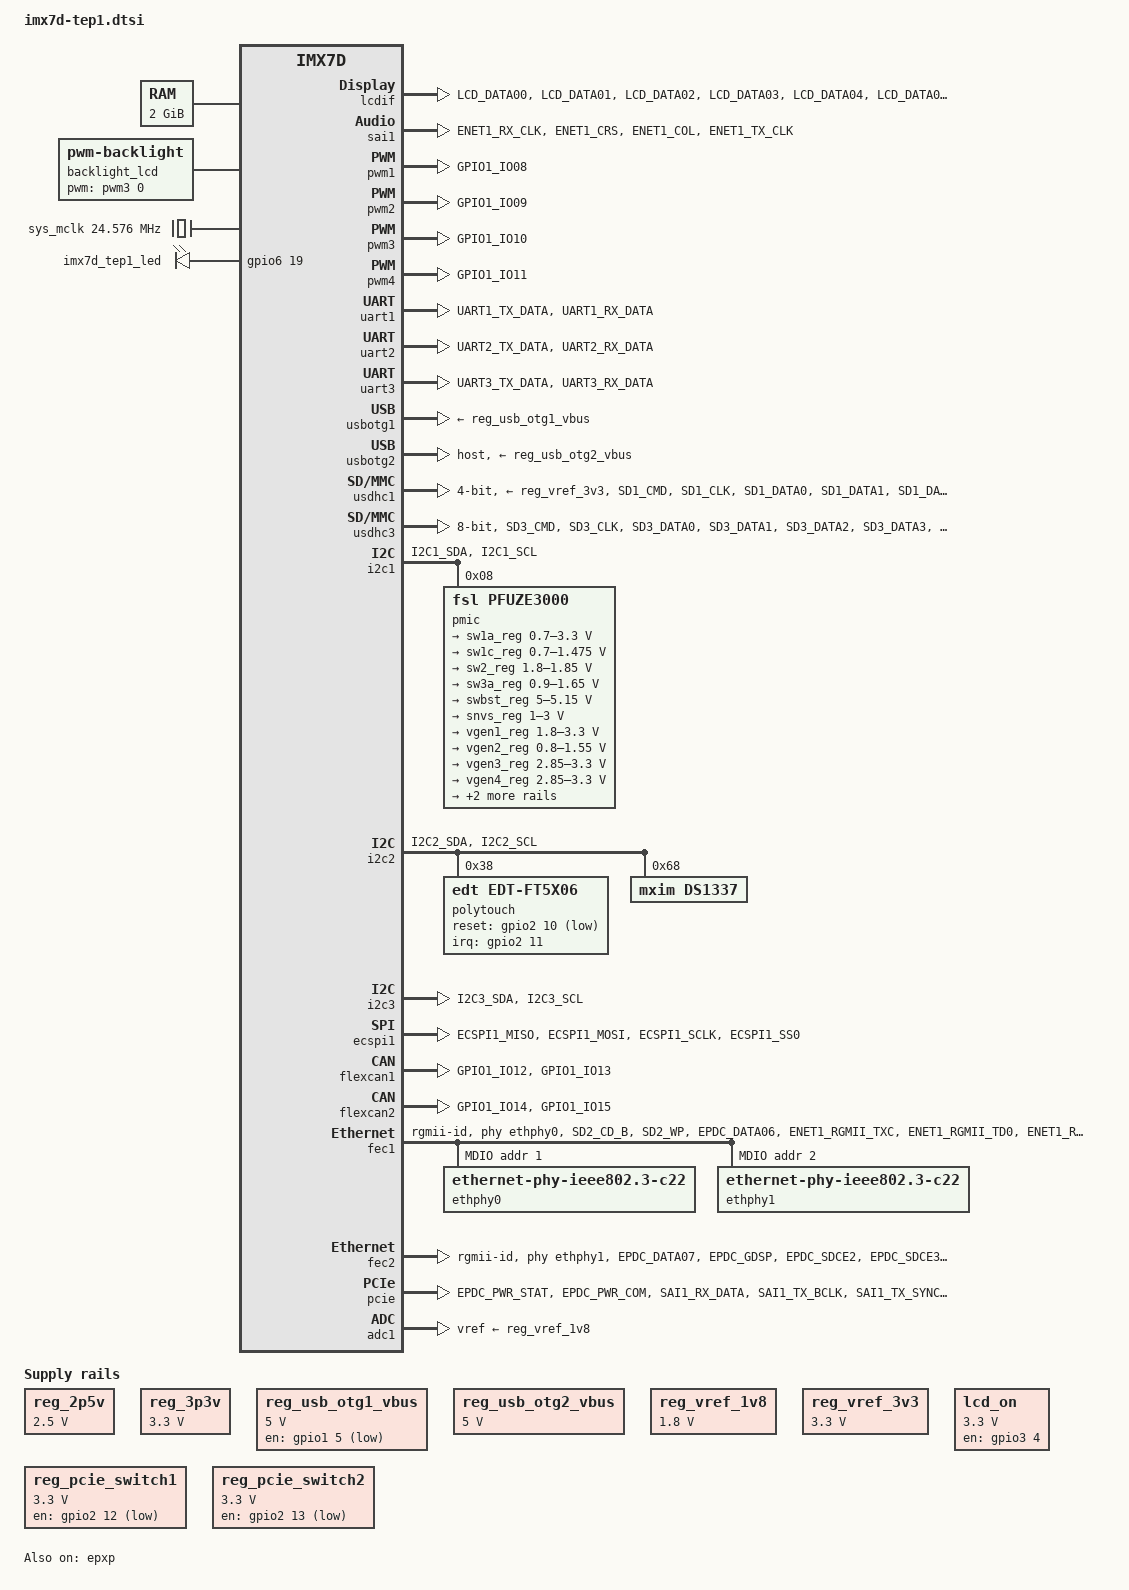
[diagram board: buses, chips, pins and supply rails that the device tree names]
/*
 * Copyright 2016 Technexion Ltd.
 *
 * Author: Alvin Chen<alvin.chen@technexion.com>
 *
 * This program is free software; you can redistribute it and/or modify
 * it under the terms of the GNU General Public License version 2 as
 * published by the Free Software Foundation.
 *
 */

#include <dt-bindings/input/input.h>
#include <dt-bindings/gpio/gpio.h>

#define EDM_TEP1_GPIO_DEFS()							\
&gpio2 {									\
	gpio-line-names =							\
		"", "", "", "", "GPIO_PORT1_IO3", "", "", "",			\
		"", "", "", "", "", "", "", "",					\
		"", "", "", "", "", "", "", "",					\
		"", "", "", "", "", "", "", "";					\
	pinctrl-0 = <&pinctrl_gpio2>;						\
};										\
										\
&gpio5 {									\
	gpio-line-names =							\
		"", "", "GPIO_PORT1_IO2", "", "", "", "", "",			\
		"", "", "", "", "GPIO_PORT1_IO4", "GPIO_PORT1_IO1", "", "",	\
		"", "", "", "", "", "", "", "",					\
		"", "", "", "", "", "", "", "";					\
	pinctrl-0 = <&pinctrl_gpio5>;						\
}

/ {
	aliases {
		mxcfb0 = &mxcfb1;
	};

	memory {
		reg = <0x80000000 0x80000000>;
	};

	reserved-memory {
		#address-cells = <1>;
		#size-cells = <1>;
		ranges;

		linux,cma {
		compatible = "shared-dma-pool";
		reusable;
		size = <0x14000000>;
		linux,cma-default;
		};
	};

	backlight_lcd {
		compatible = "pwm-backlight";
		pwms = <&pwm3 0 50000 0>;
		brightness-levels = <0 36 72 108 144 180 216 255>;
		default-brightness-level = <6>;
		status = "okay";
	};

	regulators {
		compatible = "simple-bus";
		#address-cells = <1>;
		#size-cells = <0>;

		reg_2p5v: 2p5v {
			compatible = "regulator-fixed";
			regulator-name = "2P5V";
			regulator-min-microvolt = <2500000>;
			regulator-max-microvolt = <2500000>;
			regulator-always-on;
		};

		reg_3p3v: 3p3v {
			compatible = "regulator-fixed";
			regulator-name = "3P3V";
			regulator-min-microvolt = <3300000>;
			regulator-max-microvolt = <3300000>;
			regulator-always-on;
		};

		reg_usb_otg1_vbus: regulator@0 {
			compatible = "regulator-fixed";
			reg = <0>;
			regulator-name = "usb_otg1_vbus";
			regulator-min-microvolt = <5000000>;
			regulator-max-microvolt = <5000000>;
			pinctrl-names = "default";
			pinctrl-0 = <&pinctrl_usbotg1_pwr>;
			gpio = <&gpio1 5 GPIO_ACTIVE_LOW>;
			enable-active-low;
		};

		reg_usb_otg2_vbus: regulator@1 {
			compatible = "regulator-fixed";
			reg = <1>;
			regulator-name = "usb_otg2_vbus";
			regulator-min-microvolt = <5000000>;
			regulator-max-microvolt = <5000000>;
		};

		reg_vref_1v8: regulator@5 {
			compatible = "regulator-fixed";
			reg = <5>;
			regulator-name = "vref-1v8";
			regulator-min-microvolt = <1800000>;
			regulator-max-microvolt = <1800000>;
		};

		reg_vref_3v3: regulator@6 {
			compatible = "regulator-fixed";
			regulator-name = "vref-3v3";
			regulator-min-microvolt = <3300000>;
			regulator-max-microvolt = <3300000>;
		};

		lcd_on: lcd_on {
			compatible = "regulator-fixed";
			regulator-name = "LCD_VDD";
			reg = <0>;
			regulator-min-microvolt = <3300000>;
			regulator-max-microvolt = <3300000>;
			pinctrl-names = "default";
			pinctrl-0 = <&pinctrl_lcd_vdden>;
			gpio = <&gpio3 4 GPIO_ACTIVE_HIGH>;
			enable-active-high;
			regulator-boot-on;
		};

		reg_pcie_switch1: pcie_switch1 {
			compatible = "regulator-fixed";
			regulator-name = "PCIE_SWITCH1";
			regulator-min-microvolt = <3300000>;
			regulator-max-microvolt = <3300000>;
			pinctrl-names = "default";
			pinctrl-0 = <&pinctrl_pcie_switch1>;
			gpio = <&gpio2 12 GPIO_ACTIVE_HIGH>;
			enable-active-low;
			regulator-always-on;
		};

		reg_pcie_switch2: pcie_switch2 {
			compatible = "regulator-fixed";
			regulator-name = "PCIE_SWITCH2";
			regulator-min-microvolt = <3300000>;
			regulator-max-microvolt = <3300000>;
			pinctrl-names = "default";
			pinctrl-0 = <&pinctrl_pcie_switch2>;
			gpio = <&gpio2 13 GPIO_ACTIVE_HIGH>;
			enable-active-low;
			regulator-always-on;
		};
	};

	clocks {
		sys_mclk: clock {
			compatible = "fixed-clock";
			#clock-cells = <0>;
			clock-frequency = <24576000>;
		};
	};

	mxcfb1: fb@0 {
		compatible = "fsl,mxc_sdc_fb";
		disp_dev = "lcdif";
		interface_pix_fmt = "RGB24";
		default_bpp = <24>;
		int_clk = <0>;
		late_init = <0>;
		status = "okay";
	};

	gpio-leds {
		compatible = "gpio-leds";
		pinctrl-names = "default";
		pinctrl-0 = <&pinctrl_ext_gpioled_tep1>;
		tep1_led {
			label = "imx7d_tep1_led";
			gpios = <&gpio6 19 GPIO_ACTIVE_HIGH>;
		};
	};
};

&cpu0 {
	cpu-supply = <&sw1a_reg>;
};

&cpu1 {
	cpu-supply = <&sw1a_reg>;
};

EDM_TEP1_GPIO_DEFS();

&iomuxc {
	pinctrl-names = "default";
	pinctrl-0 = <&pinctrl_hog_1>;
	tep1-imx7d {
		pinctrl_pcie_switch1: pcie_switch1_ctrlgrp {
			fsl,pins = <
				MX7D_PAD_EPDC_DATA12__GPIO2_IO12	0x15
			>;
		};

		pinctrl_pcie_switch2: pcie_switch2_ctrlgrp {
			fsl,pins = <
				MX7D_PAD_EPDC_DATA13__GPIO2_IO13	0x15
			>;
		};

		pinctrl_ecspi1: ecspi1grp {
			fsl,pins = <
				MX7D_PAD_ECSPI1_MISO__ECSPI1_MISO	0x2
				MX7D_PAD_ECSPI1_MOSI__ECSPI1_MOSI	0x2
				MX7D_PAD_ECSPI1_SCLK__ECSPI1_SCLK	0x2
			>;
		};

		pinctrl_ecspi1_cs: ecspi1_cs_grp {
			fsl,pins = <
				MX7D_PAD_ECSPI1_SS0__GPIO4_IO19	0x15
			>;
		};

		pinctrl_enet1: enet1grp {
			fsl,pins = <
				MX7D_PAD_SD2_CD_B__ENET1_MDIO				0x3
				MX7D_PAD_SD2_WP__ENET1_MDC				0x3
				MX7D_PAD_EPDC_DATA06__GPIO2_IO6				0x3  /* MDIO interrupt */
				MX7D_PAD_ENET1_RGMII_TXC__ENET1_RGMII_TXC		0x3
				MX7D_PAD_ENET1_RGMII_TD0__ENET1_RGMII_TD0		0x3
				MX7D_PAD_ENET1_RGMII_TD1__ENET1_RGMII_TD1		0x3
				MX7D_PAD_ENET1_RGMII_TD2__ENET1_RGMII_TD2		0x3
				MX7D_PAD_ENET1_RGMII_TD3__ENET1_RGMII_TD3		0x3
				MX7D_PAD_ENET1_RGMII_TX_CTL__ENET1_RGMII_TX_CTL		0x3
				MX7D_PAD_ENET1_RGMII_RXC__ENET1_RGMII_RXC		0x3
				MX7D_PAD_ENET1_RGMII_RD0__ENET1_RGMII_RD0		0x3
				MX7D_PAD_ENET1_RGMII_RD1__ENET1_RGMII_RD1		0x3
				MX7D_PAD_ENET1_RGMII_RD2__ENET1_RGMII_RD2		0x3
				MX7D_PAD_ENET1_RGMII_RD3__ENET1_RGMII_RD3		0x3
				MX7D_PAD_ENET1_RGMII_RX_CTL__ENET1_RGMII_RX_CTL		0x3
				MX7D_PAD_SD2_RESET_B__GPIO5_IO11			0x3  /* Ethernet reset */
			>;
		};

		pinctrl_enet2: enet2grp {
			fsl,pins = <
				MX7D_PAD_EPDC_DATA07__GPIO2_IO7			0x3  /* MDIO interrupt*/
				MX7D_PAD_EPDC_GDSP__ENET2_RGMII_TXC		0x3
				MX7D_PAD_EPDC_SDCE2__ENET2_RGMII_TD0		0x3
				MX7D_PAD_EPDC_SDCE3__ENET2_RGMII_TD1		0x3
				MX7D_PAD_EPDC_GDCLK__ENET2_RGMII_TD2		0x3
				MX7D_PAD_EPDC_GDOE__ENET2_RGMII_TD3		0x3
				MX7D_PAD_EPDC_GDRL__ENET2_RGMII_TX_CTL		0x3
				MX7D_PAD_EPDC_SDCE1__ENET2_RGMII_RXC		0x3
				MX7D_PAD_EPDC_SDCLK__ENET2_RGMII_RD0		0x3
				MX7D_PAD_EPDC_SDLE__ENET2_RGMII_RD1		0x3
				MX7D_PAD_EPDC_SDOE__ENET2_RGMII_RD2		0x3
				MX7D_PAD_EPDC_SDSHR__ENET2_RGMII_RD3		0x3
				MX7D_PAD_EPDC_SDCE0__ENET2_RGMII_RX_CTL		0x3
			>;
		};

		pinctrl_i2c1: i2c1grp {
			fsl,pins = <
				MX7D_PAD_I2C1_SDA__I2C1_SDA	0x4000007f
				MX7D_PAD_I2C1_SCL__I2C1_SCL	0x4000007f
			>;
		};

		pinctrl_i2c2: i2c2grp {
			fsl,pins = <
				MX7D_PAD_I2C2_SDA__I2C2_SDA	0x4000007f
				MX7D_PAD_I2C2_SCL__I2C2_SCL	0x4000007f
			>;
		};

		pinctrl_i2c3: i2c3grp {
			fsl,pins = <
				MX7D_PAD_I2C3_SDA__I2C3_SDA	0x4000007f
				MX7D_PAD_I2C3_SCL__I2C3_SCL	0x4000007f
			>;
		};

		pinctrl_pcie: pcie_ctrlgrp {
			fsl,pins = <
				MX7D_PAD_EPDC_PWR_STAT__GPIO2_IO31	0x15	/* POWER_ON_OFF */
				MX7D_PAD_EPDC_PWR_COM__GPIO2_IO30	0x15	/* M2_RST */
				MX7D_PAD_SAI1_RX_DATA__GPIO6_IO12	0x15	/* WAKE_WWAN */
				MX7D_PAD_SAI1_TX_BCLK__GPIO6_IO13	0x15	/* pcie CLKREQ */
				MX7D_PAD_SAI1_TX_SYNC__GPIO6_IO14	0x15	/* pcie PEWAKE */
				MX7D_PAD_SAI1_TX_DATA__GPIO6_IO15	0x15	/* pcie PERST */
				MX7D_PAD_SAI1_RX_BCLK__GPIO6_IO17	0x15	/* GPS_DISABLE */
				MX7D_PAD_SAI2_TX_DATA__GPIO6_IO22	0x15	/* WAN_nDISABLE1 */
			>;
		};

		pinctrl_lcdif_dat: lcdifdatgrp {
			fsl,pins = <
				MX7D_PAD_LCD_DATA00__LCD_DATA0	0x79
				MX7D_PAD_LCD_DATA01__LCD_DATA1	0x79
				MX7D_PAD_LCD_DATA02__LCD_DATA2	0x79
				MX7D_PAD_LCD_DATA03__LCD_DATA3	0x79
				MX7D_PAD_LCD_DATA04__LCD_DATA4	0x79
				MX7D_PAD_LCD_DATA05__LCD_DATA5	0x79
				MX7D_PAD_LCD_DATA06__LCD_DATA6	0x79
				MX7D_PAD_LCD_DATA07__LCD_DATA7	0x79
				MX7D_PAD_LCD_DATA08__LCD_DATA8	0x79
				MX7D_PAD_LCD_DATA09__LCD_DATA9	0x79
				MX7D_PAD_LCD_DATA10__LCD_DATA10	0x79
				MX7D_PAD_LCD_DATA11__LCD_DATA11	0x79
				MX7D_PAD_LCD_DATA12__LCD_DATA12	0x79
				MX7D_PAD_LCD_DATA13__LCD_DATA13	0x79
				MX7D_PAD_LCD_DATA14__LCD_DATA14	0x79
				MX7D_PAD_LCD_DATA15__LCD_DATA15	0x79
				MX7D_PAD_LCD_DATA16__LCD_DATA16	0x79
				MX7D_PAD_LCD_DATA17__LCD_DATA17	0x79
				MX7D_PAD_LCD_DATA18__LCD_DATA18	0x79
				MX7D_PAD_LCD_DATA19__LCD_DATA19	0x79
				MX7D_PAD_LCD_DATA20__LCD_DATA20	0x79
				MX7D_PAD_LCD_DATA21__LCD_DATA21	0x79
				MX7D_PAD_LCD_DATA22__LCD_DATA22	0x79
				MX7D_PAD_LCD_DATA23__LCD_DATA23	0x79
			>;
		};

		pinctrl_lcdif_ctrl: lcdifctrlgrp {
			fsl,pins = <
				MX7D_PAD_LCD_CLK__LCD_CLK	0x79
				MX7D_PAD_LCD_ENABLE__LCD_ENABLE	0x78
				MX7D_PAD_LCD_VSYNC__LCD_VSYNC	0x78
				MX7D_PAD_LCD_HSYNC__LCD_HSYNC	0x78
			>;
		};

		pinctrl_lcd_vdden: lcd_vdden {
			fsl,pins = <
				MX7D_PAD_LCD_RESET__GPIO3_IO4	0x14
			>;
		};

		pinctrl_sai1: sai1grp {
			fsl,pins = <
				MX7D_PAD_ENET1_RX_CLK__SAI1_TX_BCLK	0x1f
				MX7D_PAD_ENET1_CRS__SAI1_TX_SYNC	0x1f
				MX7D_PAD_ENET1_COL__SAI1_TX_DATA0	0x30
				MX7D_PAD_ENET1_TX_CLK__SAI1_RX_DATA0	0x1f
			>;
		};

		pinctrl_pwm1: pwm1 {
			fsl,pins = <
				MX7D_PAD_GPIO1_IO08__PWM1_OUT	0x7f
			>;
		};

		pinctrl_pwm2: pwm2 {
			fsl,pins = <
				MX7D_PAD_GPIO1_IO09__PWM2_OUT	0x7f
			>;
		};

		pinctrl_pwm4: pwm4 {
			fsl,pins = <
				MX7D_PAD_GPIO1_IO11__PWM4_OUT	0x7f
			>;
		};

		pinctrl_uart1: uart1grp {
			fsl,pins = <
				MX7D_PAD_UART1_TX_DATA__UART1_DCE_TX	0x79
				MX7D_PAD_UART1_RX_DATA__UART1_DCE_RX	0x79
			>;
		};

		pinctrl_uart2: uart2grp {
			fsl,pins = <
				MX7D_PAD_UART2_TX_DATA__UART2_DCE_TX	0x79
				MX7D_PAD_UART2_RX_DATA__UART2_DCE_RX	0x79
			>;
		};

		pinctrl_uart3: uart3grp {
			fsl,pins = <
				MX7D_PAD_UART3_TX_DATA__UART3_DCE_TX	0x79
				MX7D_PAD_UART3_RX_DATA__UART3_DCE_RX	0x79
			>;
		};

		pinctrl_can_1: can-1 {
			fsl,pins = <
				MX7D_PAD_GPIO1_IO12__FLEXCAN1_RX	0x59
				MX7D_PAD_GPIO1_IO13__FLEXCAN1_TX	0x59
			>;
		};

		pinctrl_can_2: can-2 {
			fsl,pins = <
				MX7D_PAD_GPIO1_IO14__FLEXCAN2_RX	0x59
				MX7D_PAD_GPIO1_IO15__FLEXCAN2_TX	0x59
			>;
		};

		pinctrl_usdhc1: usdhc1grp {
			fsl,pins = <
				MX7D_PAD_SD1_CMD__SD1_CMD	0x7B
				MX7D_PAD_SD1_CLK__SD1_CLK	0x1B
				MX7D_PAD_SD1_DATA0__SD1_DATA0	0x7B
				MX7D_PAD_SD1_DATA1__SD1_DATA1	0x7B
				MX7D_PAD_SD1_DATA2__SD1_DATA2	0x7B
				MX7D_PAD_SD1_DATA3__SD1_DATA3	0x7B
				MX7D_PAD_SD1_CD_B__GPIO5_IO0	0x7B /* baseboard sd cd pin */
			>;
		};

		pinctrl_usdhc1_100mhz: usdhc1grp_100mhz {
			fsl,pins = <
				MX7D_PAD_SD1_CMD__SD1_CMD	0x5a
				MX7D_PAD_SD1_CLK__SD1_CLK	0x1a
				MX7D_PAD_SD1_DATA0__SD1_DATA0	0x5a
				MX7D_PAD_SD1_DATA1__SD1_DATA1	0x5a
				MX7D_PAD_SD1_DATA2__SD1_DATA2	0x5a
				MX7D_PAD_SD1_DATA3__SD1_DATA3	0x5a
				MX7D_PAD_SD1_CD_B__GPIO5_IO0	0x15
			>;
		};

		pinctrl_usdhc1_200mhz: usdhc1grp_200mhz {
			fsl,pins = <
				MX7D_PAD_SD1_CMD__SD1_CMD	0x5b
				MX7D_PAD_SD1_CLK__SD1_CLK	0x1b
				MX7D_PAD_SD1_DATA0__SD1_DATA0	0x5b
				MX7D_PAD_SD1_DATA1__SD1_DATA1	0x5b
				MX7D_PAD_SD1_DATA2__SD1_DATA2	0x5b
				MX7D_PAD_SD1_DATA3__SD1_DATA3	0x5b
				MX7D_PAD_SD1_CD_B__GPIO5_IO0	0x15
			>;
		};

		pinctrl_m2_cfg: m2cfggrp {
			fsl,pins = <
				MX7D_PAD_SD2_DATA0__GPIO5_IO14	0x5b	/* M2 CONFIG_0 */
				MX7D_PAD_SD2_DATA1__GPIO5_IO15	0x5b	/* M2 CONFIG_1 */
				MX7D_PAD_SD2_DATA2__GPIO5_IO16	0x5b	/* M2 CONFIG_2 */
				MX7D_PAD_SD2_DATA3__GPIO5_IO17	0x5b	/* M2 CONFIG_3 */
			>;
		};

		pinctrl_usdhc3: usdhc3grp {
			fsl,pins = <
				MX7D_PAD_SD3_CMD__SD3_CMD		0x59
				MX7D_PAD_SD3_CLK__SD3_CLK		0x19
				MX7D_PAD_SD3_DATA0__SD3_DATA0		0x59
				MX7D_PAD_SD3_DATA1__SD3_DATA1		0x59
				MX7D_PAD_SD3_DATA2__SD3_DATA2		0x59
				MX7D_PAD_SD3_DATA3__SD3_DATA3		0x59
				MX7D_PAD_SD3_DATA4__SD3_DATA4		0x59
				MX7D_PAD_SD3_DATA5__SD3_DATA5		0x59
				MX7D_PAD_SD3_DATA6__SD3_DATA6		0x59
				MX7D_PAD_SD3_DATA7__SD3_DATA7		0x59
			>;
		};

		pinctrl_backlight: backlight {
			fsl,pins = <
				MX7D_PAD_GPIO1_IO10__PWM3_OUT		0x0
			>;
		};

		pinctrl_hog_1: gpio_ctrlgrp {
			fsl,pins = <
				MX7D_PAD_I2C4_SDA__GPIO4_IO15		0x15	/* fec power */
			>;
		};

		pinctrl_ext_gpioled_tep1: gpioledgrp {
			fsl,pins = <
				MX7D_PAD_SAI2_TX_SYNC__GPIO6_IO19	0x0b0b0
			>;
		};

		pinctrl_ft5606_irq: ft5606-touch-irq {
			fsl,pins = <
				MX7D_PAD_EPDC_DATA11__GPIO2_IO11	0x59	/* touch irq */
			>;
		};

		pinctrl_ft5606_reset: ft5606-touch-reset {
			fsl,pins = <
				MX7D_PAD_EPDC_DATA10__GPIO2_IO10	0x59	/* touch rest */
			>;
		};

		pinctrl_gpio2: gpio2grp {
			fsl,pins = <
				MX7D_PAD_EPDC_DATA04__GPIO2_IO4		0x15
			>;
		};

		pinctrl_gpio5: gpio5grp {
			fsl,pins = <
				MX7D_PAD_SD2_CMD__GPIO5_IO13		0x15
				MX7D_PAD_SD1_RESET_B__GPIO5_IO2		0x15
				MX7D_PAD_SD2_CLK__GPIO5_IO12		0x15
			>;
		};
	};
};

&lcdif {
	pinctrl-names = "default";
	pinctrl-0 = <&pinctrl_lcdif_dat
		     &pinctrl_lcdif_ctrl>;
	lcd-supply = <&lcd_on>;
	display = <&display0>;
	status = "okay";

	display0: display {
		bits-per-pixel = <24>;
		bus-width = <24>;
		fbpix = "ABGR32";
		display-timings {
			native-mode = <&timing0>;
			timing0: timing0 {
				clock-frequency = <33260000>;
				hactive = <800>;
				vactive = <480>;
				hback-porch = <11>;
				hfront-porch = <11>;
				vback-porch = <12>;
				vfront-porch = <11>;
				hsync-len = <46>;
				vsync-len = <210>;
				hsync-active = <0>;
				vsync-active = <0>;
				de-active = <1>;
				pixelclk-active = <1>;
				interlaced =  <0>;
			};
		};
	};
};

&sai1 {
	pinctrl-names = "default";
	pinctrl-0 = <&pinctrl_sai1>;
	assigned-clocks = <&clks IMX7D_SAI1_ROOT_SRC>,
			  <&clks IMX7D_SAI1_ROOT_CLK>;
	assigned-clock-parents = <&clks IMX7D_PLL_AUDIO_POST_DIV>;
	assigned-clock-rates = <0>, <24576000>;
	status = "okay";
};

&pwm1 {
	pinctrl-names = "default";
	pinctrl-0 = <&pinctrl_pwm1>;
	status = "okay";
};

&pwm2 {
	pinctrl-names = "default";
	pinctrl-0 = <&pinctrl_pwm2>;
	status = "okay";
};

&pwm3 { /* Backlight */
	pinctrl-names = "default";
	pinctrl-0 = <&pinctrl_backlight>;
	status = "okay";
};

&pwm4 {
	pinctrl-names = "default";
	pinctrl-0 = <&pinctrl_pwm4>;
	status = "okay";
};

&sdma {
	status = "okay";
};

&uart1 {
	pinctrl-names = "default";
	pinctrl-0 = <&pinctrl_uart1>;
	assigned-clocks = <&clks IMX7D_UART1_ROOT_SRC>;
	assigned-clock-parents = <&clks IMX7D_PLL_SYS_MAIN_240M_CLK>;
	status = "okay";
};

&uart2 {
	pinctrl-names = "default";
	pinctrl-0 = <&pinctrl_uart2>;
	assigned-clocks = <&clks IMX7D_UART2_ROOT_SRC>;
	assigned-clock-parents = <&clks IMX7D_PLL_SYS_MAIN_240M_CLK>;
	status = "okay";
};

&uart3 {
	pinctrl-names = "default";
	pinctrl-0 = <&pinctrl_uart3>;
	assigned-clocks = <&clks IMX7D_UART3_ROOT_SRC>;
	assigned-clock-parents = <&clks IMX7D_PLL_SYS_MAIN_240M_CLK>;
	status = "okay";
};

&usbotg1 {
	vbus-supply = <&reg_usb_otg1_vbus>;
	srp-disable;
	hnp-disable;
	adp-disable;
	status = "okay";
};

&usbotg2 {
	vbus-supply = <&reg_usb_otg2_vbus>;
	dr_mode = "host";
	status = "okay";
};

&usdhc1 {
	pinctrl-names = "default";
	pinctrl-0 = <&pinctrl_usdhc1>;
	cd-gpios = <&gpio5 0 GPIO_ACTIVE_LOW>;
	bus-width = <4>;
	vmmc-supply = <&reg_vref_3v3>;
	enable-sdio-wakeup;
	no-1-8-v;
	keep-power-in-suspend;
	status = "okay";
};

&usdhc3 { /* Module eMMC */
	pinctrl-names = "default";
	pinctrl-0 = <&pinctrl_usdhc3>;
	assigned-clocks = <&clks IMX7D_USDHC3_ROOT_CLK>;
	assigned-clock-rates = <400000000>;
	bus-width = <8>;
	status = "okay";
};

&wdog1 {
	pinctrl-names = "default";
	pinctrl-0 = <&pinctrl_wdog>;
	fsl,ext-reset-output;
};

&i2c1 {
	pinctrl-names = "default";
	pinctrl-0 = <&pinctrl_i2c1>;
	status = "okay";

	pmic: pfuze3000@8 {
	compatible = "fsl,pfuze3000";
	reg = <0x8>;
	fsl,lpsr-mode;

	regulators {
		sw1a_reg: sw1a {
			regulator-min-microvolt = <700000>;
			regulator-max-microvolt = <3300000>;
			regulator-boot-on;
			regulator-always-on;
			regulator-ramp-delay = <6250>;
		};
		/* use sw1c_reg to align with pfuze100/pfuze200 */
		sw1c_reg: sw1b {
			regulator-min-microvolt = <700000>;
			regulator-max-microvolt = <1475000>;
			regulator-boot-on;
			regulator-always-on;
			regulator-ramp-delay = <6250>;
		};

		sw2_reg: sw2 {
			regulator-min-microvolt = <1800000>;
			regulator-max-microvolt = <1850000>;
			regulator-boot-on;
			regulator-always-on;
		};
		sw3a_reg: sw3 {
			regulator-min-microvolt = <900000>;
			regulator-max-microvolt = <1650000>;
			regulator-boot-on;
			regulator-always-on;
		};

		swbst_reg: swbst {
			regulator-min-microvolt = <5000000>;
			regulator-max-microvolt = <5150000>;
		};

		snvs_reg: vsnvs {
			regulator-min-microvolt = <1000000>;
			regulator-max-microvolt = <3000000>;
			regulator-boot-on;
			regulator-always-on;
		};

		vref_reg: vrefddr {
			regulator-boot-on;
			regulator-always-on;
		};

		vgen1_reg: vldo1 {
			regulator-min-microvolt = <1800000>;
			regulator-max-microvolt = <3300000>;
			regulator-always-on;
		};

		vgen2_reg: vldo2 {
			regulator-min-microvolt = <800000>;
			regulator-max-microvolt = <1550000>;
		};

		vgen3_reg: vccsd {
			regulator-min-microvolt = <2850000>;
			regulator-max-microvolt = <3300000>;
			regulator-always-on;
		};

		vgen4_reg: v33 {
			regulator-min-microvolt = <2850000>;
			regulator-max-microvolt = <3300000>;
			regulator-always-on;
		};

		vgen5_reg: vldo3 {
			regulator-min-microvolt = <1800000>;
			regulator-max-microvolt = <3300000>;
			regulator-always-on;
		};

		vgen6_reg: vldo4 {
			regulator-min-microvolt = <1800000>;
			regulator-max-microvolt = <3300000>;
			regulator-always-on;
		};
	};
	};
};

&i2c2 {
	pinctrl-names = "default";
	pinctrl-0 = <&pinctrl_i2c2>;
	status = "okay";
	polytouch: edt-ft5x06@38 {
		compatible = "edt,edt-ft5x06";
		reg = <0x38>;
		pinctrl-names = "default";
		pinctrl-0 = <&pinctrl_ft5606_irq &pinctrl_ft5606_reset>; /* Touch IRQ and Touch Reset */
		reset-gpios = <&gpio2 10 GPIO_ACTIVE_LOW>; /* GPIO_P264 J1B-264 */
		interrupt-parent = <&gpio2>; /* GPIO_P261 J1B-261 */
		interrupts = <11 0>;
		touchscreen-size-x = <800>;
		touchscreen-size-y = <480>;
	};

	ds1337: rtc@68 {
		compatible = "mxim,ds1337";
		reg = <0x68>;
	};
};

&i2c3 {
	pinctrl-names = "default";
	pinctrl-0 = <&pinctrl_i2c3>;
	status = "okay";
};

&ecspi1 {
	num-cs = <0>;
	cs-gpios = <&gpio4 19 GPIO_ACTIVE_LOW>;
	pinctrl-names = "default";
	pinctrl-0 = <&pinctrl_ecspi1 &pinctrl_ecspi1_cs>;
	status = "okay";
};

&flexcan1 {
	pinctrl-names = "default";
	pinctrl-0 = <&pinctrl_can_1>;
	status = "okay";
};

&flexcan2 {
	pinctrl-names = "default";
	pinctrl-0 = <&pinctrl_can_2>;
	status = "okay";
};

&cpu0 {
	arm-supply = <&sw1a_reg>;
};

&iomuxc_lpsr {
	pinctrl-names = "default";
	pinctrl-0 = <&pinctrl_hog_2>;

	tep1-imx7d-miscpins {
		pinctrl_wdog: wdoggrp {
			fsl,pins = <
				MX7D_PAD_LPSR_GPIO1_IO00__WDOG1_WDOG_B		0x74
			>;
		};

		pinctrl_hog_2: hoggrp-2 {
			fsl,pins = <
				MX7D_PAD_LPSR_GPIO1_IO07__GPIO1_IO7		0x59 /* pmic sd_vel pin */
			>;
		};

		pinctrl_usbotg1_pwr: usbotg_pwr {
			fsl,pins = <
				MX7D_PAD_LPSR_GPIO1_IO05__GPIO1_IO5		0x14
			>;
		};
	};
};

&fec1 {
	pinctrl-names = "default";
	pinctrl-0 = <&pinctrl_enet1>;
	phy-reset-gpios = <&gpio5 11 0>;
	assigned-clocks = <&clks IMX7D_ENET1_TIME_ROOT_SRC>,
			  <&clks IMX7D_ENET1_TIME_ROOT_CLK>;
	assigned-clock-parents = <&clks IMX7D_PLL_ENET_MAIN_100M_CLK>;
	assigned-clock-rates = <0>, <100000000>;
	phy-mode = "rgmii-id";
	phy-handle = <&ethphy0>;
	fsl,magic-packet;
	status = "okay";

	mdio {
		#address-cells = <1>;
		#size-cells = <0>;

		ethphy0: ethernet-phy@1 {
			compatible = "ethernet-phy-ieee802.3-c22";
			reg = <1>;
		};

		ethphy1: ethernet-phy@2 {
			compatible = "ethernet-phy-ieee802.3-c22";
			reg = <2>;
		};
	};
};

&fec2 {
	pinctrl-names = "default";
	pinctrl-0 = <&pinctrl_enet2>;
	assigned-clocks = <&clks IMX7D_ENET2_TIME_ROOT_SRC>,
			  <&clks IMX7D_ENET2_TIME_ROOT_CLK>;
	assigned-clock-parents = <&clks IMX7D_PLL_ENET_MAIN_100M_CLK>;
	assigned-clock-rates = <0>, <100000000>;
	phy-mode = "rgmii-id";
	phy-handle = <&ethphy1>;
	fsl,magic-packet;
	status = "okay";
};

&pcie {
	pinctrl-names = "default";
	pinctrl-0 = <&pinctrl_pcie>;
	power-on-gpio = <&gpio2 31 GPIO_ACTIVE_HIGH>;
	disable-gpio = <&gpio6 22 GPIO_ACTIVE_HIGH>;
	clkreq-gpio = <&gpio6 13 GPIO_ACTIVE_HIGH>;
	wake-gpio = <&gpio6 14 GPIO_ACTIVE_HIGH>;
	reset-gpio = <&gpio6 15 GPIO_ACTIVE_HIGH>;
	status = "okay";
};

&epxp {
	status = "okay";
};

&adc1 {
	vref-supply = <&reg_vref_1v8>;
	status = "okay";
};

&adc2 {
	vref-supply = <&reg_vref_1v8>;
	status = "disabled";
};
